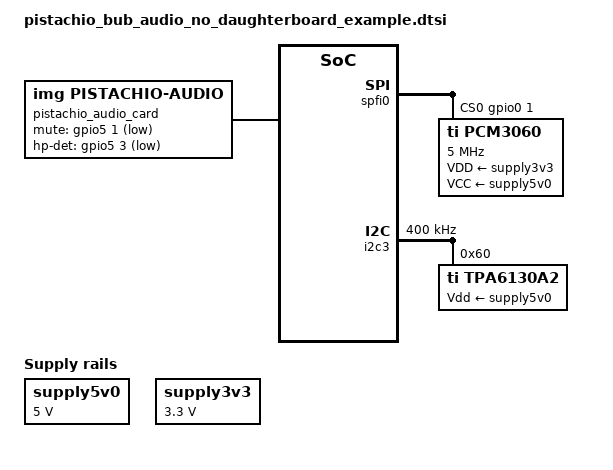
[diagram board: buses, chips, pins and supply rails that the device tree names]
/*
 * Copyright (C) 2015 Imagination Technologies Ltd.
 *
 * This program is free software; you can redistribute it and/or modify
 * it under the terms of the GNU General Public License version 2 as
 * published by the Free Software Foundation.
 */

#include "pistachio.dtsi"
#include <dt-bindings/sound/pistachio-audio.h>

/ {
	supply5v0: supply5v0@0 {
		compatible = "regulator-fixed";
		regulator-name = "5V-supply";
		regulator-min-microvolt = <5000000>;
		regulator-max-microvolt = <5000000>;
	};

	supply3v3: supply3v3@0 {
		compatible = "regulator-fixed";
		regulator-name = "3V3-supply";
		regulator-min-microvolt = <3300000>;
		regulator-max-microvolt = <3300000>;
	};

	pistachio_audio_card {
		compatible = "img,pistachio-audio";

		clocks = <&clk_core CLK_AUDIO_PLL>,
			 <&clk_core CLK_I2S>,
			 <&clk_core CLK_AUDIO>;
		clock-names = "audio_pll", "i2s_mclk", "dac_clk";

		img,cr-periph = <&cr_periph>;
		img,event-timer = <&event_timer>;

		img,mute-gpio = <&gpio5 1 GPIO_ACTIVE_LOW>;
		img,hp-det-gpio = <&gpio5 3 GPIO_ACTIVE_LOW>;

		img,widgets = "Headphone", "Headphones",
			      "Speaker", "Speakers",
			      "Line", "RCA Out";

		img,routing = "Headphones", "tpa OUTL",
			      "Headphones", "tpa OUTR",
			      "Speakers", "tpa OUTL",
			      "Speakers", "tpa OUTR",
			      "RCA Out", "internal-dac AOUTL",
			      "RCA Out", "internal-dac AOUTR",
			      "tpa INL", "pcm3060 AOUTL",
			      "tpa INR", "pcm3060 AOUTR";

		spdif-out {
			cpu-dai = <&spdif_out>;
		};

		parallel-out {
			cpu-dai = <&parallel_out>;
			sound-dai = <&internal_dac>;
			tpa6130a2 = <&tpa6130a2>;
		};

		i2s-out {
			cpu-dai = <&i2s_out>;
			format = "i2s";

			pcm3060 {
				mclk = <PISTACHIO_MCLK_I2S>;
				mclk-fs = <128 192 256 384 512 768>;
				mclk-min-freq = <2048000>;
				mclk-max-freq = <36864000>;
				sound-dai = <&pcm3060 0>;
			};
		};

		i2s-in {
			cpu-dai = <&i2s_in>;
			format = "i2s";

			pcm3060 {
				mclk = <PISTACHIO_MCLK_I2S>;
				mclk-fs = <256 384 512 768>;
				mclk-min-freq = <2048000>;
				mclk-max-freq = <36864000>;
				sound-dai = <&pcm3060 1>;
				frame-master;
				bitclock-master;
			};
		};
	};
};

&spfi0 {
	status = "okay";

	pinctrl-names = "default";
	pinctrl-0 = <&spim0_pins>;

	cs-gpios = <&gpio0 1 GPIO_ACTIVE_HIGH>;

	pcm3060: pcm3060@0 {
		compatible = "ti,pcm3060";
		reg = <0>;
		clocks = <&clk_core CLK_I2S &clk_core CLK_I2S>;
		clock-names = "sckid","sckia";
		VDD-supply = <&supply3v3>;
		VCC-supply = <&supply5v0>;
		pinctrl-names = "default";
		pinctrl-0 = <&i2s_mclk_pin>;
		spi-max-frequency = <5000000>;

		#sound-dai-cells = <1>;
	};
};

&i2c3 {
	status = "okay";
	clock-frequency = <400000>;

	tpa6130a2: tpa6130a2@60 {
		compatible = "ti,tpa6130a2";
		reg = <0x60>;
		Vdd-supply = <&supply5v0>;
	};
};

&i2s_out {
	status = "okay";
};

&i2s_in {
	status = "okay";
	pinctrl-names = "default";
	pinctrl-0 = <&i2s_in_pins>;
};

&spdif_out {
	status = "okay";
};

&spdif_in {
	status = "okay";
};

&parallel_out {
	status = "okay";
};
